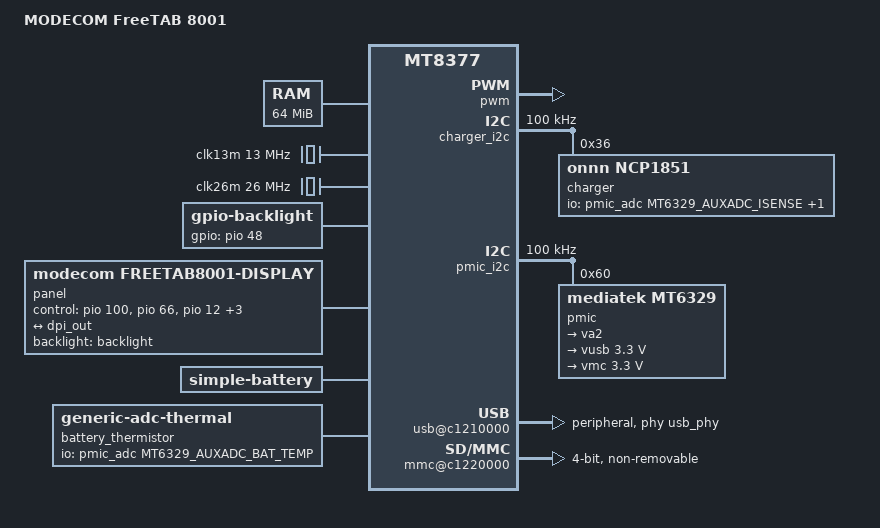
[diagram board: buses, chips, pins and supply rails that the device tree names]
// SPDX-License-Identifier: GPL-2.0-only
/dts-v1/;

#include <dt-bindings/interrupt-controller/arm-gic.h>
#include <dt-bindings/interrupt-controller/irq.h>
#include <dt-bindings/clock/mediatek,mt8377-clk.h>
#include <dt-bindings/clock/mediatek,mt8377-mmsys.h>
#include <dt-bindings/gpio/gpio.h>
#include <dt-bindings/iio/adc/mediatek,mt6329-auxadc.h>

/ {
	model = "MODECOM FreeTAB 8001";
	compatible = "modecom,freetab8001", "mediatek,mt8377";
	#address-cells = <1>;
	#size-cells = <1>;
	interrupt-parent = <&sysirq>;

	aliases {
		i2c0 = &pmic_i2c;
		i2c1 = &charger_i2c;
		serial2 = &uart2;
	};

	chosen {
		bootargs = "console=ttyGS0,115200 loglevel=8";
	};

	cpus {
		#address-cells = <1>;
		#size-cells = <0>;

		cpu@0 {
			device_type = "cpu";
			compatible = "arm,cortex-a9";
			reg = <0>;
		};

		cpu@1 {
			device_type = "cpu";
			compatible = "arm,cortex-a9";
			reg = <1>;
			status = "disabled";
		};
	};

	memory@10000000 {
		device_type = "memory";
		reg = <0x10000000 0x04000000>;
	};

	clk13m: clock-13m {
		compatible = "fixed-clock";
		#clock-cells = <0>;
		clock-frequency = <13000000>;
	};

	clk26m: clock-26m {
		compatible = "fixed-clock";
		#clock-cells = <0>;
		clock-frequency = <26000000>;
	};

	backlight: backlight {
		compatible = "gpio-backlight";
		gpios = <&pio 48 GPIO_ACTIVE_HIGH>;
	};

	panel {
		compatible = "modecom,freetab8001-display";
		modecom,control-gpios = <&pio 100 GPIO_ACTIVE_HIGH>,
					<&pio 66 GPIO_ACTIVE_HIGH>,
					<&pio 12 GPIO_ACTIVE_HIGH>,
					<&pio 49 GPIO_ACTIVE_HIGH>,
					<&pio 84 GPIO_ACTIVE_HIGH>,
					<&pio 52 GPIO_ACTIVE_HIGH>;
		backlight = <&backlight>;

		port {
			panel_in: endpoint {
				remote-endpoint = <&dpi_out>;
			};
		};
	};

	battery: battery {
		compatible = "simple-battery";
		charge-full-design-microamp-hours = <3476000>;
		factory-internal-resistance-micro-ohms = <117000>;
		voltage-resistance-table =
			<4179000 117000>,
			<4162000 152000>,
			<4148000 152000>,
			<4135000 152000>,
			<4122000 153000>,
			<4111000 153000>,
			<4101000 155000>,
			<4090000 155000>,
			<4081000 155000>,
			<4077000 160000>,
			<4070000 162000>,
			<4057000 158000>,
			<4037000 158000>,
			<4020000 160000>,
			<4006000 163000>,
			<3995000 163000>,
			<3987000 163000>,
			<3980000 163000>,
			<3977000 167000>,
			<3972000 167000>,
			<3966000 168000>,
			<3958000 167000>,
			<3951000 172000>,
			<3943000 172000>,
			<3938000 175000>,
			<3930000 175000>,
			<3924000 178000>,
			<3917000 180000>,
			<3911000 178000>,
			<3904000 180000>,
			<3900000 185000>,
			<3893000 185000>,
			<3888000 188000>,
			<3881000 190000>,
			<3874000 187000>,
			<3866000 183000>,
			<3858000 182000>,
			<3847000 175000>,
			<3837000 167000>,
			<3828000 162000>,
			<3820000 157000>,
			<3814000 155000>,
			<3811000 157000>,
			<3805000 153000>,
			<3802000 153000>,
			<3799000 157000>,
			<3796000 157000>,
			<3793000 155000>,
			<3790000 158000>,
			<3788000 158000>,
			<3786000 160000>,
			<3785000 162000>,
			<3781000 155000>,
			<3779000 157000>,
			<3778000 158000>,
			<3777000 157000>,
			<3777000 160000>,
			<3776000 158000>,
			<3775000 160000>,
			<3775000 160000>,
			<3773000 160000>,
			<3772000 160000>,
			<3768000 157000>,
			<3766000 158000>,
			<3764000 160000>,
			<3759000 155000>,
			<3753000 155000>,
			<3748000 157000>,
			<3744000 157000>,
			<3735000 155000>,
			<3723000 152000>,
			<3715000 157000>,
			<3703000 157000>,
			<3694000 150000>,
			<3694000 155000>,
			<3692000 157000>,
			<3691000 157000>,
			<3689000 160000>,
			<3687000 165000>,
			<3682000 170000>,
			<3654000 168000>,
			<3594000 168000>,
			<3507000 177000>,
			<3369000 192000>,
			<3314000 192000>;
		ocv-capacity-celsius = <25>;
		ocv-capacity-table-0 =
			<4174000 100>,
			<4149000 98>,
			<4130000 97>,
			<4115000 95>,
			<4101000 94>,
			<4089000 92>,
			<4078000 91>,
			<4069000 89>,
			<4060000 88>,
			<4052000 86>,
			<4045000 84>,
			<4037000 83>,
			<4030000 81>,
			<4021000 80>,
			<4012000 78>,
			<4003000 77>,
			<3994000 75>,
			<3984000 74>,
			<3975000 72>,
			<3965000 70>,
			<3956000 69>,
			<3947000 67>,
			<3939000 66>,
			<3929000 64>,
			<3919000 63>,
			<3908000 61>,
			<3894000 60>,
			<3881000 58>,
			<3871000 57>,
			<3863000 55>,
			<3856000 53>,
			<3849000 52>,
			<3842000 50>,
			<3836000 49>,
			<3830000 47>,
			<3825000 46>,
			<3819000 44>,
			<3813000 42>,
			<3808000 41>,
			<3803000 39>,
			<3799000 38>,
			<3795000 36>,
			<3790000 35>,
			<3786000 33>,
			<3781000 32>,
			<3776000 30>,
			<3770000 29>,
			<3763000 27>,
			<3757000 25>,
			<3750000 24>,
			<3744000 22>,
			<3739000 21>,
			<3735000 19>,
			<3728000 18>,
			<3721000 16>,
			<3714000 15>,
			<3706000 13>,
			<3695000 11>,
			<3687000 10>,
			<3685000 8>,
			<3681000 7>,
			<3670000 5>,
			<3630000 4>,
			<3560000 2>,
			<3457000 1>,
			<3328000 0>,
			<3309000 0>,
			<3302000 0>,
			<3298000 0>,
			<3296000 0>,
			<3294000 0>,
			<3292000 0>,
			<3290000 0>,
			<3289000 0>,
			<3288000 0>,
			<3287000 0>,
			<3287000 0>,
			<3286000 0>,
			<3286000 0>,
			<3286000 0>,
			<3286000 0>,
			<3284000 0>,
			<3284000 0>,
			<3283000 0>,
			<3282000 0>,
			<3282000 0>;
		constant-charge-current-max-microamp = <500000>;
		constant-charge-voltage-max-microvolt = <4200000>;
		precharge-current-microamp = <100000>;
		charge-term-current-microamp = <200000>;
		over-voltage-threshold-microvolt = <4350000>;
		alert-celsius = <10 40>;
	};

	battery_thermistor: battery-thermistor {
		compatible = "generic-adc-thermal";
		#thermal-sensor-cells = <0>;
		#io-channel-cells = <0>;
		io-channels = <&pmic_adc MT6329_AUXADC_BAT_TEMP>;
		io-channel-names = "sensor-channel";
		temperature-lookup-table = <
			(-20000) 1174
			(-15000) 1166
			(-10000) 1154
			(-5000) 1140
			0 1122
			5000 1101
			10000 1075
			15000 1044
			20000 1008
			25000 968
			30000 923
			35000 873
			40000 820
			45000 765
			50000 708
			55000 650
			60000 594
			65000 539
			70000 486>;
	};

	thermal-zones {
		battery-thermal {
			polling-delay = <1000>;
			thermal-sensors = <&battery_thermistor>;
		};
	};

	soc {
		compatible = "simple-bus";
		#address-cells = <1>;
		#size-cells = <1>;
		ranges;

		watchdog@c0000000 {
			compatible = "mediatek,mt8377-wdt";
			reg = <0xc0000000 0x1c>;
			timeout-sec = <31>;
		};

		rtc_clock: power-controller@c1003000 {
			compatible = "mediatek,mt8377-pwrc";
			reg = <0xc1003000 0x7c>;
			#clock-cells = <0>;
		};

		mmsys: clock-controller@c2080000 {
			compatible = "mediatek,mt8377-mmsys", "syscon";
			reg = <0xc2080000 0x1000>;
			#clock-cells = <1>;
		};

		mipi_tx: clock-controller@c20a3800 {
			compatible = "mediatek,mt8377-mipi-tx";
			reg = <0xc20a3800 0x34>;
			clocks = <&clk26m>;
			#clock-cells = <0>;
			mediatek,mmsys = <&mmsys>;
			mediatek,apmixedsys = <&apmixedsys>;
			mediatek,infracfg = <&infracfg>;
		};

		display-controller@c208c000 {
			compatible = "mediatek,mt8377-dpi";
			reg = <0xc208c000 0xb8>;
			interrupts = <GIC_SPI 11 IRQ_TYPE_LEVEL_LOW>;
			clocks = <&mmsys CLK_MT8377_MM_DPI>,
				 <&mmsys CLK_MT8377_MM_LARB1>,
				 <&mmsys CLK_MT8377_MM_LARB1_EMI>, <&mipi_tx>;
			clock-names = "engine", "larb", "larb-emi", "pll";
			mediatek,mmsys = <&mmsys>;

			port {
				dpi_out: endpoint {
					remote-endpoint = <&panel_in>;
				};
			};
		};

		infracfg: clock-controller@c0001000 {
			compatible = "mediatek,mt8377-infracfg";
			reg = <0xc0001000 0x1000>;
			clocks = <&clk26m>, <&apmixedsys CLK_MT8377_MAINPLL>,
				 <&apmixedsys CLK_MT8377_WPLL197>;
			clock-names = "clk26m", "mainpll", "wpll";
			#clock-cells = <1>;
		};

		apmixedsys: clock-controller@c0007000 {
			compatible = "mediatek,mt8377-apmixedsys";
			reg = <0xc0007000 0x1000>;
			clocks = <&clk26m>;
			clock-names = "clk26m";
			#clock-cells = <1>;
		};

		pericfg: clock-controller@c1000000 {
			compatible = "mediatek,mt8377-pericfg";
			reg = <0xc1000000 0x1000>;
			clocks = <&infracfg CLK_MT8377_AXI>, <&clk26m>,
				 <&apmixedsys CLK_MT8377_WPLL197>,
				 <&apmixedsys CLK_MT8377_WPLL61>;
			clock-names = "axi", "clk26m", "wpll197", "wpll61";
			#clock-cells = <1>;
		};

		pwm: pwm@c1008000 {
			compatible = "mediatek,mt8377-pwm";
			reg = <0xc1008000 0x210>;
			#pwm-cells = <2>;
			clocks = <&infracfg CLK_MT8377_AXI>, <&pericfg CLK_MT8377_PWM456>,
				 <&pericfg CLK_MT8377_PWM1>, <&pericfg CLK_MT8377_PWM2>,
				 <&pericfg CLK_MT8377_PWM3>, <&pericfg CLK_MT8377_PWM456>,
				 <&pericfg CLK_MT8377_PWM456>, <&pericfg CLK_MT8377_PWM456>,
				 <&pericfg CLK_MT8377_PWM7>;
			clock-names = "top", "main", "pwm1", "pwm2", "pwm3",
				      "pwm4", "pwm5", "pwm6", "pwm7";
		};

		uart2: serial@c100b000 {
			compatible = "mediatek,mt6577-uart";
			reg = <0xc100b000 0x100>;
			interrupt-parent = <&sysirq>;
			interrupts = <GIC_SPI 53 IRQ_TYPE_LEVEL_LOW>;
			clocks = <&pericfg CLK_MT8377_UART2>,
				 <&pericfg CLK_MT8377_UART2>;
			clock-names = "baud", "bus";
			status = "disabled";
		};

		pio: pinctrl@c0005000 {
			compatible = "mediatek,mt8377-pinctrl";
			reg = <0xc0005000 0x1000>;
			gpio-controller;
			#gpio-cells = <2>;
		};

		gic: interrupt-controller@c000b000 {
			compatible = "arm,cortex-a9-gic";
			reg = <0xc000b000 0x1000>, <0xc000a100 0x100>;
			interrupt-controller;
			#interrupt-cells = <3>;
			#address-cells = <0>;
			interrupt-parent = <&gic>;
		};

		sysirq: interrupt-controller@c0009050 {
			compatible = "mediatek,mt6577-sysirq";
			reg = <0xc0009050 0x10>;
			interrupt-controller;
			#interrupt-cells = <3>;
			#address-cells = <0>;
			interrupt-parent = <&gic>;
		};

		timer@c1002000 {
			compatible = "mediatek,mt6577-timer";
			reg = <0xc1002000 0x80>;
			interrupts = <GIC_SPI 57 IRQ_TYPE_LEVEL_LOW>;
			clocks = <&clk13m>;
			clock-names = "system-clk";
		};

		charger_i2c: i2c@c1012000 {
			compatible = "mediatek,mt6577-i2c";
			reg = <0xc1012000 0x70>;
			interrupts = <GIC_SPI 49 IRQ_TYPE_LEVEL_LOW>;
			clocks = <&pericfg CLK_MT8377_I2C0>;
			clock-names = "main";
			clock-div = <16>;
			clock-frequency = <100000>;
			#address-cells = <1>;
			#size-cells = <0>;

			charger: charger@36 {
				compatible = "onnn,ncp1851";
				reg = <0x36>;
				monitored-battery = <&battery>;
				power-supplies = <&usb_phy>;
				io-channels = <&pmic_adc MT6329_AUXADC_ISENSE>,
					      <&battery_thermistor>;
				io-channel-names = "voltage", "temperature";
				input-current-limit-microamp = <500000>;
				shunt-resistor-micro-ohms = <68000>;
				onnn,power-path;
				onnn,system-voltage-microvolt = <3400000>;
			};
		};

		pmic_i2c: i2c@c1014000 {
			compatible = "mediatek,mt8377-i2c-dual";
			reg = <0xc1014000 0xc0>;
			interrupts = <GIC_SPI 73 IRQ_TYPE_LEVEL_LOW>;
			clocks = <&pericfg CLK_MT8377_I2C_DUAL>;
			clock-names = "main";
			clock-frequency = <100000>;
			mediatek,use-push-pull;
			#address-cells = <1>;
			#size-cells = <0>;

			pmic@60 {
				compatible = "mediatek,mt6329";
				reg = <0x60>;
				clocks = <&rtc_clock>;
				mediatek,external-charger;

				pmic_adc: adc {
					compatible = "mediatek,mt6329-auxadc";
					#io-channel-cells = <1>;
				};

				pmic_current: current-sensor {
					compatible = "mediatek,mt6329-fgadc";
					#io-channel-cells = <0>;
					va2-supply = <&va2>;
					shunt-resistor-micro-ohms = <20000>;
					mediatek,current-calibration-percent = <101>;
					io-channels = <&pmic_adc MT6329_AUXADC_ISENSE>,
						      <&battery_thermistor>;
					io-channel-names = "voltage", "temperature";
					monitored-battery = <&battery>;
					power-supplies = <&charger>;
				};

				regulators {
					va2: va2 {
						regulator-name = "mt6329-va2";
						regulator-boot-on;
						regulator-always-on;
					};

					vusb: vusb {
						regulator-name = "mt6329-vusb";
						regulator-min-microvolt = <3300000>;
						regulator-max-microvolt = <3300000>;
						regulator-boot-on;
					};

					vmc: vmc {
						regulator-name = "mt6329-vmc";
						regulator-min-microvolt = <3300000>;
						regulator-max-microvolt = <3300000>;
						regulator-boot-on;
						regulator-always-on;
					};
				};
			};
		};

		usb_phy: phy@c1260800 {
			compatible = "mediatek,mt8377-usb-phy";
			reg = <0xc1260800 0x800>;
			clocks = <&apmixedsys CLK_MT8377_UPLL>, <&pericfg CLK_MT8377_USB>;
			clock-names = "upll", "bus";
			vusb33-supply = <&vusb>;
			mediatek,bc11;
			#phy-cells = <0>;
		};

		usb@c1210000 {
			compatible = "mediatek,mt8377-musb";
			reg = <0xc1210000 0x1000>;
			interrupts = <GIC_SPI 8 IRQ_TYPE_LEVEL_LOW>;
			interrupt-names = "mc";
			clocks = <&pericfg CLK_MT8377_USB>;
			clock-names = "bus";
			phys = <&usb_phy>;
			phy-names = "usb2-phy";
			dr_mode = "peripheral";
			power-supplies = <&charger>;
		};

		wifi_mmc: mmc@c1240000 {
		};

		mmc@c1220000 {
			compatible = "mediatek,mt8377-mmc";
			reg = <0xc1220000 0x1000>;
			clocks = <&pericfg CLK_MT8377_MSDC0>;
			clock-names = "source";
			bus-width = <4>;
			max-frequency = <52000000>;
			cap-mmc-highspeed;
			no-sdio;
			non-removable;
		};
	};
};

#include "mt8377-modecom-wifi.dtsi"
